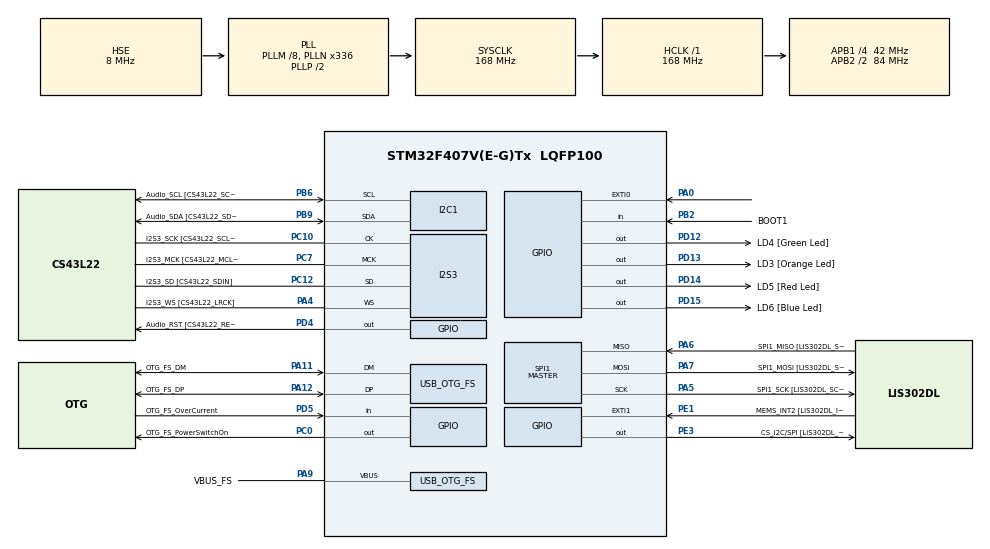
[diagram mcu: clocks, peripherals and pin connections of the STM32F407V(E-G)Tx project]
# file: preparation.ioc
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FREERTOS.BinarySemaphores01=myBinarySem01,Dynamic,NULL
FREERTOS.CountingSemaphores01=myCountingSem01,2,Dynamic,NULL
FREERTOS.Events01=myEvent01,Dynamic,NULL
FREERTOS.Queues01=myQueue01,8,uint8_t,0,Dynamic,NULL,NULL
FREERTOS.Tasks01=Task1,26,256,Sender1,Default,NULL,Dynamic,NULL,NULL;Task2,26,256,Receiver,Default,NULL,Dynamic,NULL,NULL;Task3,26,256,Sender2,Default,NULL,Dynamic,NULL,NULL
FREERTOS.configUSE_NEWLIB_REENTRANT=1
I2S3.AudioFreq-Half_Duplex_Master=I2S_AUDIOFREQ_96K
I2S3.ErrorAudioFreq=-2.34 %
I2S3.ErrorAudioFreq-Half_Duplex_Master=0.8 %
I2S3.FullDuplexMode=I2S_FULLDUPLEXMODE_DISABLE
I2S3.Instance=SPI$Index
I2S3.RealAudioFreq=93.75 KHz
I2S3.RealAudioFreq-Half_Duplex_Master=96.774 KHz
I2S3.VirtualMode=I2S_MODE_MASTER
Mcu.Family=STM32F4
Mcu.Name=STM32F407V(E-G)Tx
Mcu.Package=LQFP100
NVIC.EXTI0_IRQn=true\:5\:0\:false\:false\:true\:true\:true\:true\:true
NVIC.OTG_FS_IRQn=true\:5\:0\:false\:false\:true\:true\:true\:true\:true
NVIC.PriorityGroup=NVIC_PRIORITYGROUP_4
NVIC.TIM6_DAC_IRQn=true\:15\:0\:false\:false\:true\:false\:false\:true\:true
NVIC.TimeBase=TIM6_DAC_IRQn
NVIC.TimeBaseIP=TIM6
PA0-WKUP.Signal=GPXTI0
PA10.GPIO_Label=OTG_FS_ID
PA10.GPIO_Mode=GPIO_MODE_AF_PP
PA10.GPIO_PuPd=GPIO_NOPULL
PA10.GPIO_Speed=GPIO_SPEED_FREQ_LOW
PA10.Signal=USB_OTG_FS_ID
PA11.GPIO_Label=OTG_FS_DM
PA11.GPIO_Mode=GPIO_MODE_AF_PP
PA11.GPIO_PuPd=GPIO_NOPULL
PA11.GPIO_Speed=GPIO_SPEED_FREQ_LOW
PA11.Mode=Device_Only
PA11.Signal=USB_OTG_FS_DM
PA12.GPIO_Label=OTG_FS_DP
PA12.GPIO_Mode=GPIO_MODE_AF_PP
PA12.GPIO_PuPd=GPIO_NOPULL
PA12.GPIO_Speed=GPIO_SPEED_FREQ_LOW
PA12.Mode=Device_Only
PA12.Signal=USB_OTG_FS_DP
PA13.GPIO_Label=SWDIO
PA13.Mode=Serial_Wire
PA13.Signal=SYS_JTMS-SWDIO
PA14.GPIO_Label=SWCLK
PA14.Mode=Serial_Wire
PA14.Signal=SYS_JTCK-SWCLK
PA4.GPIO_Label=I2S3_WS [CS43L22_LRCK]
PA4.GPIO_Mode=GPIO_MODE_AF_PP
PA4.GPIO_PuPd=GPIO_NOPULL
PA4.GPIO_Speed=GPIO_SPEED_FREQ_LOW
PA4.Mode=Half_Duplex_Master
PA4.Signal=I2S3_WS
PA5.GPIO_Label=SPI1_SCK [LIS302DL_SCL/SPC]
PA5.GPIO_Mode=GPIO_MODE_AF_PP
PA5.GPIO_PuPd=GPIO_NOPULL
PA5.GPIO_Speed=GPIO_SPEED_FREQ_LOW
PA5.Mode=Full_Duplex_Master
PA5.Signal=SPI1_SCK
PA6.GPIO_Label=SPI1_MISO [LIS302DL_SDO]
PA6.GPIO_Mode=GPIO_MODE_AF_PP
PA6.GPIO_PuPd=GPIO_NOPULL
PA6.GPIO_Speed=GPIO_SPEED_FREQ_LOW
PA6.Mode=Full_Duplex_Master
PA6.Signal=SPI1_MISO
PA7.GPIO_Label=SPI1_MOSI [LIS302DL_SDA/SDI/SDO]
PA7.GPIO_Mode=GPIO_MODE_AF_PP
PA7.GPIO_PuPd=GPIO_NOPULL
PA7.GPIO_Speed=GPIO_SPEED_FREQ_LOW
PA7.Mode=Full_Duplex_Master
PA7.Signal=SPI1_MOSI
PA9.GPIO_Label=VBUS_FS
PA9.GPIO_Mode=GPIO_MODE_INPUT
PA9.GPIO_PuPd=GPIO_NOPULL
PA9.Mode=Activate_VBUS
PA9.Signal=USB_OTG_FS_VBUS
PB10.GPIO_Label=CLK_IN [MP45DT02_CLK]
PB10.GPIO_Mode=GPIO_MODE_AF_PP
PB10.GPIO_PuPd=GPIO_NOPULL
PB10.GPIO_Speed=GPIO_SPEED_FREQ_LOW
PB10.Signal=I2S2_CK
PB2.GPIO_Label=BOOT1
PB2.GPIO_Mode=GPIO_MODE_INPUT
PB2.GPIO_PuPd=GPIO_NOPULL
PB2.Signal=GPIO_Input
PB3.GPIO_Label=SWO
PB3.Signal=SYS_JTDO-SWO
PB6.GPIO_Label=Audio_SCL [CS43L22_SCL]
PB6.GPIO_Mode=GPIO_MODE_AF_OD
PB6.GPIO_Pu=GPIO_PULLUP
PB6.GPIO_PuPd=GPIO_NOPULL
PB6.GPIO_Speed=GPIO_SPEED_FREQ_LOW
PB6.Mode=I2C
PB6.Signal=I2C1_SCL
PB9.GPIO_Label=Audio_SDA [CS43L22_SDA]
PB9.GPIO_Mode=GPIO_MODE_AF_OD
PB9.GPIO_Pu=GPIO_PULLUP
PB9.GPIO_PuPd=GPIO_NOPULL
PB9.GPIO_Speed=GPIO_SPEED_FREQ_LOW
PB9.Mode=I2C
PB9.Signal=I2C1_SDA
PC0.GPIO_Label=OTG_FS_PowerSwitchOn
PC0.GPIO_PuPd=GPIO_NOPULL
PC0.GPIO_Speed=GPIO_SPEED_FREQ_LOW
PC0.PinState=GPIO_PIN_SET
PC0.Signal=GPIO_Output
PC10.GPIO_Label=I2S3_SCK [CS43L22_SCLK]
PC10.GPIO_Mode=GPIO_MODE_AF_PP
PC10.GPIO_PuPd=GPIO_NOPULL
PC10.GPIO_Speed=GPIO_SPEED_FREQ_LOW
PC10.Mode=Half_Duplex_Master
PC10.Signal=I2S3_CK
PC12.GPIO_Label=I2S3_SD [CS43L22_SDIN]
PC12.GPIO_Mode=GPIO_MODE_AF_PP
PC12.GPIO_PuPd=GPIO_NOPULL
PC12.GPIO_Speed=GPIO_SPEED_FREQ_LOW
PC12.Mode=Half_Duplex_Master
PC12.Signal=I2S3_SD
PC14-OSC32_IN.GPIO_Label=PC14-OSC32_IN
PC14-OSC32_IN.Mode=LSE-External-Oscillator
PC14-OSC32_IN.Signal=RCC_OSC32_IN
PC15-OSC32_OUT.GPIO_Label=PC15-OSC32_OUT
PC15-OSC32_OUT.Mode=LSE-External-Oscillator
PC15-OSC32_OUT.Signal=RCC_OSC32_OUT
PC3.GPIO_Label=PDM_OUT [MP45DT02_DOUT]
PC3.GPIO_Mode=GPIO_MODE_AF_PP
PC3.GPIO_PuPd=GPIO_NOPULL
PC3.GPIO_Speed=GPIO_SPEED_FREQ_LOW
PC3.Signal=I2S2_SD
PC7.GPIO_Label=I2S3_MCK [CS43L22_MCLK]
PC7.GPIO_Mode=GPIO_MODE_AF_PP
PC7.GPIO_PuPd=GPIO_NOPULL
PC7.GPIO_Speed=GPIO_SPEED_FREQ_LOW
PC7.Mode=Master_Clock_Activated
PC7.Signal=I2S3_MCK
PD12.GPIO_Label=LD4 [Green Led]
PD12.GPIO_PuPd=GPIO_NOPULL
PD12.GPIO_Speed=GPIO_SPEED_FREQ_LOW
PD12.Signal=GPIO_Output
PD13.GPIO_Label=LD3 [Orange Led]
PD13.GPIO_PuPd=GPIO_NOPULL
PD13.GPIO_Speed=GPIO_SPEED_FREQ_LOW
PD13.Signal=GPIO_Output
PD14.GPIO_Label=LD5 [Red Led]
PD14.GPIO_PuPd=GPIO_NOPULL
PD14.GPIO_Speed=GPIO_SPEED_FREQ_LOW
PD14.Signal=GPIO_Output
PD15.GPIO_Label=LD6 [Blue Led]
PD15.GPIO_PuPd=GPIO_NOPULL
PD15.GPIO_Speed=GPIO_SPEED_FREQ_LOW
PD15.Signal=GPIO_Output
PD4.GPIO_Label=Audio_RST [CS43L22_RESET]
PD4.GPIO_PuPd=GPIO_NOPULL
PD4.GPIO_Speed=GPIO_SPEED_FREQ_LOW
PD4.Signal=GPIO_Output
PD5.GPIO_Label=OTG_FS_OverCurrent
PD5.GPIO_Mode=GPIO_MODE_INPUT
PD5.GPIO_PuPd=GPIO_NOPULL
PD5.Signal=GPIO_Input
PE1.GPIO_Label=MEMS_INT2 [LIS302DL_INT2]
PE1.GPIO_ModeDefaultEXTI=GPIO_MODE_EVT_RISING
PE1.GPIO_PuPd=GPIO_NOPULL
PE1.Signal=GPXTI1
PE3.GPIO_Label=CS_I2C/SPI [LIS302DL_CS_I2C/SPI]
PE3.GPIO_PuPd=GPIO_NOPULL
PE3.GPIO_Speed=GPIO_SPEED_FREQ_LOW
PE3.Signal=GPIO_Output
PH0-OSC_IN.GPIO_Label=PH0-OSC_IN
PH0-OSC_IN.Mode=HSE-External-Oscillator
PH0-OSC_IN.Signal=RCC_OSC_IN
PH1-OSC_OUT.GPIO_Label=PH1-OSC_OUT
PH1-OSC_OUT.Mode=HSE-External-Oscillator
PH1-OSC_OUT.Signal=RCC_OSC_OUT
ProjectManager.HeapSize=0x200
ProjectManager.StackSize=0x400
ProjectManager.TargetToolchain=STM32CubeIDE
RCC.48MHZClocksFreq_Value=48000000
RCC.AHBFreq_Value=168000000
RCC.APB1CLKDivider=RCC_HCLK_DIV4
RCC.APB1Freq_Value=42000000
RCC.APB1TimFreq_Value=84000000
RCC.APB2CLKDivider=RCC_HCLK_DIV2
RCC.APB2Freq_Value=84000000
RCC.APB2TimFreq_Value=168000000
RCC.CortexFreq_Value=168000000
RCC.HCLKFreq_Value=168000000
RCC.HSE_VALUE=8000000
RCC.HSI_VALUE=16000000
RCC.PLLM=8
RCC.PLLN=336
RCC.PLLQ=7
RCC.SYSCLKFreq_VALUE=168000000
RCC.SYSCLKSource=RCC_SYSCLKSOURCE_PLLCLK
RCC.VCOOutputFreq_Value=336000000
SPI1.BaudRatePrescaler-Full_Duplex_Master=SPI_BAUDRATEPRESCALER_2
SPI1.CalculateBaudRate-Full_Duplex_Master=42.0 MBits/s
SPI1.Direction=SPI_DIRECTION_2LINES
SPI1.Mode=SPI_MODE_MASTER
SPI1.Mode-Full_Duplex_Master=SPI_MODE_MASTER
SPI1.VirtualType=VM_MASTER
USB_DEVICE.CLASS_NAME_FS=CDC
USB_DEVICE.VirtualMode-CDC_FS=Cdc
USB_DEVICE.VirtualModeFS=Cdc_FS
USB_OTG_FS.VirtualMode=Device_Only
VP_FREERTOS_VS_CMSIS_V2.Mode=CMSIS_V2
VP_SYS_VS_tim6.Mode=TIM6
VP_USB_DEVICE_VS_USB_DEVICE_CDC_FS.Mode=CDC_FS
board=STM32F407G-DISC1

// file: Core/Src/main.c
/* USER CODE BEGIN Header */
/**
  ******************************************************************************
  * @file           : main.c
  * @brief          : Main program body
  ******************************************************************************
  * @attention
  *
  * Copyright (c) 2023 STMicroelectronics.
  * All rights reserved.
  *
  * This software is licensed under terms that can be found in the LICENSE file
  * in the root directory of this software component.
  * If no LICENSE file comes with this software, it is provided AS-IS.
  *
  ******************************************************************************
  */
/* USER CODE END Header */
#include "main.h"
#include "cmsis_os.h"
#include "usb_device.h"

/* USER CODE BEGIN Includes */
#include "usbd_cdc_if.h"

#define TEST
//#define LAB1A
//#define LAB1C
//#define LAB1E
//#define LAB1H
//#define LAB2C
//#define LAB2F
//#define LAB2H
//#define LAB3C
//#define LAB3F
//#define LAB4B

uint16_t res2;
uint16_t res1;

#if defined(LAB1E) || defined(LAB1A) || defined(LAB1C) || defined(LAB1H)
	#define LAB1
#endif

#if defined(LAB2C) || defined(LAB2F) || defined(LAB2H)
	#define LAB2
#endif

#if defined(LAB3C) || defined(LAB3F)
	#define LAB3
#endif

#if defined(LAB4B)
	#define LAB4
#endif

#ifdef LAB1A
   #include "lab1a.h"
	void (*Task1) = &StartDefaultTask_lab1a;
	void (*Task2) = &StartTask02_lab1a;
#endif

#ifdef LAB1C
   #include "lab1c.h"

	void (*Task1) = &StartDefaultTask_lab1c;
	void (*Task2) = &StartTask02_lab1c;
#endif

#ifdef LAB1E
   #include "lab1e.h"
	void (*Task1) = &StartDefaultTask_lab1e;
	void (*Task2) = &StartTask02_lab1e;
#endif

#ifdef LAB1H
   #include "lab1h.h"
	void (*Task1) = &StartDefaultTask_lab1h;
	void (*Task2) = &StartTask02_lab1h;
#endif

#ifdef LAB2C
   #include "lab2c.h"
	void (*Task1) = &Sender_lab2c;
	void (*Task2) = &Receiver_lab2c;
#endif

#ifdef LAB2F
   #include "lab2f.h"
	void (*Task1) = &Sender1_lab2f;
	void (*Task2) = &Receiver_lab2f;
	void (*Task3) = &Sender2_lab2f;
#endif

#ifdef LAB2H
   #include "lab2h.h"
	void (*Task1) = &Sender1_lab2h;
	void (*Task2) = &Receiver_lab2h;
	void (*Task3) = &Sender2_lab2h;
#endif

#ifdef LAB3C
   #include "lab3c.h"
	void (*Task1) = &Sender1_lab3c;
	void (*Task2) = &Receiver_lab3c;
#endif

#ifdef LAB3F
   #include "lab3f.h"
	void (*Task1) = &Sender1_lab3f;
	void (*Task2) = &Receiver_lab3f;
	void (*Task3) = &Sender2_lab3f;
#endif

#ifdef LAB4B
   #include "lab4b.h"
	void (*Task1) = &Sender1_lab4b;
	void (*Task2) = &Receiver_lab4b;
	void (*Task3) = &Sender2_lab4b;
#endif

#ifdef TEST
	void Sender1(void *argument);
	void Sender2(void *argument);
	void Receiver(void *argument);
	void (*Task1) = &Sender1;
	void (*Task2) = &Receiver;
	void (*Task3) = &Sender2;
#endif

/* USER CODE END Includes */

/* USER CODE BEGIN PM */
uint8_t x;
/* USER CODE END PM */

I2C_HandleTypeDef hi2c1;

I2S_HandleTypeDef hi2s3;

SPI_HandleTypeDef hspi1;

/* Definitions for Task1 */
osThreadId_t Task1Handle;
const osThreadAttr_t Task1_attributes = {
  .name = "Task1",
  .stack_size = 256 * 4,
  .priority = (osPriority_t) osPriorityHigh7,
};
/* Definitions for Task2 */
osThreadId_t Task2Handle;
const osThreadAttr_t Task2_attributes = {
  .name = "Task2",
  .stack_size = 256 * 4,
  .priority = (osPriority_t) osPriorityBelowNormal,
};
/* Definitions for Task3 */
osThreadId_t Task3Handle;
const osThreadAttr_t Task3_attributes = {
  .name = "Task3",
  .stack_size = 256 * 4,
  .priority = (osPriority_t) osPriorityBelowNormal,
};
/* Definitions for myQueue01 */
osMessageQueueId_t myQueue01Handle;
const osMessageQueueAttr_t myQueue01_attributes = {
  .name = "myQueue01"
};
/* Definitions for myBinarySem01 */
osSemaphoreId_t myBinarySem01Handle;
const osSemaphoreAttr_t myBinarySem01_attributes = {
  .name = "myBinarySem01"
};
/* Definitions for myCountingSem01 */
osSemaphoreId_t myCountingSem01Handle;
const osSemaphoreAttr_t myCountingSem01_attributes = {
  .name = "myCountingSem01"
};
/* Definitions for myEvent01 */
osEventFlagsId_t myEvent01Handle;
const osEventFlagsAttr_t myEvent01_attributes = {
  .name = "myEvent01"
};
/* USER CODE BEGIN PV */
typedef struct  {
    uint8_t source;
    uint16_t value;
} Data;

Data Data2Send1 = {'a',1};
Data Data2Send2 = {'b',2};
/* USER CODE END PV */

void SystemClock_Config(void);
static void MX_GPIO_Init(void);
static void MX_I2C1_Init(void);
static void MX_I2S3_Init(void);
static void MX_SPI1_Init(void);

int main(void)
{

  /* MCU Configuration--------------------------------------------------------*/

  /* Reset of all peripherals, Initializes the Flash interface and the Systick. */
  HAL_Init();

  /* Configure the system clock */
  SystemClock_Config();

  /* Initialize all configured peripherals */
  MX_GPIO_Init();
  MX_I2C1_Init();
  MX_I2S3_Init();
  MX_SPI1_Init();
  /* USER CODE BEGIN 2 */
  MX_USB_DEVICE_Init();
  /* USER CODE END 2 */

  /* Init scheduler */
  osKernelInitialize();

  /* Create the semaphores(s) */
  /* creation of myBinarySem01 */
  myBinarySem01Handle = osSemaphoreNew(1, 1, &myBinarySem01_attributes);

  /* creation of myCountingSem01 */
  myCountingSem01Handle = osSemaphoreNew(2, 2, &myCountingSem01_attributes);

  /* Create the queue(s) */
  /* creation of myQueue01 */
  myQueue01Handle = osMessageQueueNew (8, sizeof(uint8_t), &myQueue01_attributes);

  /* Create the thread(s) */
  /* creation of Task1 */

  /* USER CODE BEGIN RTOS_THREADS */
  /* add threads, ... */

	#ifdef LAB1
  	  	Task2Handle = osThreadNew(Task2, NULL, &Task2_attributes);
  	    Task1Handle = osThreadNew(Task1, NULL, &Task1_attributes);
	#endif

	#ifdef LAB2
		Task1Handle = osThreadNew(Task1, NULL, &Task1_attributes);
		Task2Handle = osThreadNew(Task2, NULL, &Task2_attributes);
	#if defined(LAB2F) || defined(LAB2H)
		Task3Handle = osThreadNew(Task3, NULL, &Task3_attributes);
	#endif
		//Task3Handle = osThreadNew(Task3, NULL, &Task3_attributes);
	#endif

	#ifdef LAB3
			Task2Handle = osThreadNew(Task2, NULL, &Task2_attributes);
			Task1Handle = osThreadNew(Task1, NULL, &Task1_attributes);
	#if defined(LAB3F)
		Task3Handle = osThreadNew(Task3, NULL, &Task3_attributes);
	#endif
	#endif

	#ifdef LAB4
		Task1Handle = osThreadNew(Task1, NULL, &Task1_attributes);
		Task2Handle = osThreadNew(Task2, NULL, &Task2_attributes);
		Task3Handle = osThreadNew(Task3, NULL, &Task3_attributes);

	#endif

	#ifdef TEST
		  Task1Handle = osThreadNew(Sender1, NULL, &Task1_attributes);

		  /* creation of Task2 */
		  Task2Handle = osThreadNew(Receiver, NULL, &Task2_attributes);

		  /* creation of Task3 */
		  Task3Handle = osThreadNew(Sender2, NULL, &Task3_attributes);
	#endif
  /* USER CODE END RTOS_THREADS */

  /* Create the event(s) */
  /* creation of myEvent01 */
  myEvent01Handle = osEventFlagsNew(&myEvent01_attributes);

  /* Start scheduler */
  osKernelStart();
  /* We should never get here as control is now taken by the scheduler */
  /* Infinite loop */
  while (1)
  {

    /* USER CODE BEGIN 3 */
	  //Task_action('1');
	  //HAL_Delay(100);
  }
  /* USER CODE END 3 */
}

void SystemClock_Config(void)
{
  RCC_OscInitTypeDef RCC_OscInitStruct = {0};
  RCC_ClkInitTypeDef RCC_ClkInitStruct = {0};

  /** Configure the main internal regulator output voltage
  */
  __HAL_RCC_PWR_CLK_ENABLE();
  __HAL_PWR_VOLTAGESCALING_CONFIG(PWR_REGULATOR_VOLTAGE_SCALE1);

  /** Initializes the RCC Oscillators according to the specified parameters
  * in the RCC_OscInitTypeDef structure.
  */
  RCC_OscInitStruct.OscillatorType = RCC_OSCILLATORTYPE_HSE;
  RCC_OscInitStruct.HSEState = RCC_HSE_ON;
  RCC_OscInitStruct.PLL.PLLState = RCC_PLL_ON;
  RCC_OscInitStruct.PLL.PLLSource = RCC_PLLSOURCE_HSE;
  RCC_OscInitStruct.PLL.PLLM = 8;
  RCC_OscInitStruct.PLL.PLLN = 336;
  RCC_OscInitStruct.PLL.PLLP = RCC_PLLP_DIV2;
  RCC_OscInitStruct.PLL.PLLQ = 7;
  if (HAL_RCC_OscConfig(&RCC_OscInitStruct) != HAL_OK)
  {
    Error_Handler();
  }

  /** Initializes the CPU, AHB and APB buses clocks
  */
  RCC_ClkInitStruct.ClockType = RCC_CLOCKTYPE_HCLK|RCC_CLOCKTYPE_SYSCLK
                              |RCC_CLOCKTYPE_PCLK1|RCC_CLOCKTYPE_PCLK2;
  RCC_ClkInitStruct.SYSCLKSource = RCC_SYSCLKSOURCE_PLLCLK;
  RCC_ClkInitStruct.AHBCLKDivider = RCC_SYSCLK_DIV1;
  RCC_ClkInitStruct.APB1CLKDivider = RCC_HCLK_DIV4;
  RCC_ClkInitStruct.APB2CLKDivider = RCC_HCLK_DIV2;

  if (HAL_RCC_ClockConfig(&RCC_ClkInitStruct, FLASH_LATENCY_5) != HAL_OK)
  {
    Error_Handler();
  }
}

static void MX_I2C1_Init(void)
{

  hi2c1.Instance = I2C1;
  hi2c1.Init.ClockSpeed = 100000;
  hi2c1.Init.DutyCycle = I2C_DUTYCYCLE_2;
  hi2c1.Init.OwnAddress1 = 0;
  hi2c1.Init.AddressingMode = I2C_ADDRESSINGMODE_7BIT;
  hi2c1.Init.DualAddressMode = I2C_DUALADDRESS_DISABLE;
  hi2c1.Init.OwnAddress2 = 0;
  hi2c1.Init.GeneralCallMode = I2C_GENERALCALL_DISABLE;
  hi2c1.Init.NoStretchMode = I2C_NOSTRETCH_DISABLE;
  if (HAL_I2C_Init(&hi2c1) != HAL_OK)
  {
    Error_Handler();
  }

}

static void MX_I2S3_Init(void)
{

  hi2s3.Instance = SPI3;
  hi2s3.Init.Mode = I2S_MODE_MASTER_TX;
  hi2s3.Init.Standard = I2S_STANDARD_PHILIPS;
  hi2s3.Init.DataFormat = I2S_DATAFORMAT_16B;
  hi2s3.Init.MCLKOutput = I2S_MCLKOUTPUT_ENABLE;
  hi2s3.Init.AudioFreq = I2S_AUDIOFREQ_96K;
  hi2s3.Init.CPOL = I2S_CPOL_LOW;
  hi2s3.Init.ClockSource = I2S_CLOCK_PLL;
  hi2s3.Init.FullDuplexMode = I2S_FULLDUPLEXMODE_DISABLE;
  if (HAL_I2S_Init(&hi2s3) != HAL_OK)
  {
    Error_Handler();
  }

}

static void MX_SPI1_Init(void)
{

  /* SPI1 parameter configuration*/
  hspi1.Instance = SPI1;
  hspi1.Init.Mode = SPI_MODE_MASTER;
  hspi1.Init.Direction = SPI_DIRECTION_2LINES;
  hspi1.Init.DataSize = SPI_DATASIZE_8BIT;
  hspi1.Init.CLKPolarity = SPI_POLARITY_LOW;
  hspi1.Init.CLKPhase = SPI_PHASE_1EDGE;
  hspi1.Init.NSS = SPI_NSS_SOFT;
  hspi1.Init.BaudRatePrescaler = SPI_BAUDRATEPRESCALER_2;
  hspi1.Init.FirstBit = SPI_FIRSTBIT_MSB;
  hspi1.Init.TIMode = SPI_TIMODE_DISABLE;
  hspi1.Init.CRCCalculation = SPI_CRCCALCULATION_DISABLE;
  hspi1.Init.CRCPolynomial = 10;
  if (HAL_SPI_Init(&hspi1) != HAL_OK)
  {
    Error_Handler();
  }

}

static void MX_GPIO_Init(void)
{
  GPIO_InitTypeDef GPIO_InitStruct = {0};

  /* GPIO Ports Clock Enable */
  __HAL_RCC_GPIOE_CLK_ENABLE();
  __HAL_RCC_GPIOC_CLK_ENABLE();
  __HAL_RCC_GPIOH_CLK_ENABLE();
  __HAL_RCC_GPIOA_CLK_ENABLE();
  __HAL_RCC_GPIOB_CLK_ENABLE();
  __HAL_RCC_GPIOD_CLK_ENABLE();

  /*Configure GPIO pin Output Level */
  HAL_GPIO_WritePin(CS_I2C_SPI_GPIO_Port, CS_I2C_SPI_Pin, GPIO_PIN_RESET);

  /*Configure GPIO pin Output Level */
  HAL_GPIO_WritePin(OTG_FS_PowerSwitchOn_GPIO_Port, OTG_FS_PowerSwitchOn_Pin, GPIO_PIN_SET);

  /*Configure GPIO pin Output Level */
  HAL_GPIO_WritePin(GPIOD, LD4_Pin|LD3_Pin|LD5_Pin|LD6_Pin
                          |Audio_RST_Pin, GPIO_PIN_RESET);

  /*Configure GPIO pin : CS_I2C_SPI_Pin */
  GPIO_InitStruct.Pin = CS_I2C_SPI_Pin;
  GPIO_InitStruct.Mode = GPIO_MODE_OUTPUT_PP;
  GPIO_InitStruct.Pull = GPIO_NOPULL;
  GPIO_InitStruct.Speed = GPIO_SPEED_FREQ_LOW;
  HAL_GPIO_Init(CS_I2C_SPI_GPIO_Port, &GPIO_InitStruct);

  /*Configure GPIO pin : OTG_FS_PowerSwitchOn_Pin */
  GPIO_InitStruct.Pin = OTG_FS_PowerSwitchOn_Pin;
  GPIO_InitStruct.Mode = GPIO_MODE_OUTPUT_PP;
  GPIO_InitStruct.Pull = GPIO_NOPULL;
  GPIO_InitStruct.Speed = GPIO_SPEED_FREQ_LOW;
  HAL_GPIO_Init(OTG_FS_PowerSwitchOn_GPIO_Port, &GPIO_InitStruct);

  /*Configure GPIO pin : PDM_OUT_Pin */
  GPIO_InitStruct.Pin = PDM_OUT_Pin;
  GPIO_InitStruct.Mode = GPIO_MODE_AF_PP;
  GPIO_InitStruct.Pull = GPIO_NOPULL;
  GPIO_InitStruct.Speed = GPIO_SPEED_FREQ_LOW;
  GPIO_InitStruct.Alternate = GPIO_AF5_SPI2;
  HAL_GPIO_Init(PDM_OUT_GPIO_Port, &GPIO_InitStruct);

  /*Configure GPIO pin : PA0 */
  GPIO_InitStruct.Pin = GPIO_PIN_0;
  GPIO_InitStruct.Mode = GPIO_MODE_IT_RISING;
  GPIO_InitStruct.Pull = GPIO_NOPULL;
  HAL_GPIO_Init(GPIOA, &GPIO_InitStruct);

  /*Configure GPIO pin : BOOT1_Pin */
  GPIO_InitStruct.Pin = BOOT1_Pin;
  GPIO_InitStruct.Mode = GPIO_MODE_INPUT;
  GPIO_InitStruct.Pull = GPIO_NOPULL;
  HAL_GPIO_Init(BOOT1_GPIO_Port, &GPIO_InitStruct);

  /*Configure GPIO pin : CLK_IN_Pin */
  GPIO_InitStruct.Pin = CLK_IN_Pin;
  GPIO_InitStruct.Mode = GPIO_MODE_AF_PP;
  GPIO_InitStruct.Pull = GPIO_NOPULL;
  GPIO_InitStruct.Speed = GPIO_SPEED_FREQ_LOW;
  GPIO_InitStruct.Alternate = GPIO_AF5_SPI2;
  HAL_GPIO_Init(CLK_IN_GPIO_Port, &GPIO_InitStruct);

  /*Configure GPIO pins : LD4_Pin LD3_Pin LD5_Pin LD6_Pin
                           Audio_RST_Pin */
  GPIO_InitStruct.Pin = LD4_Pin|LD3_Pin|LD5_Pin|LD6_Pin
                          |Audio_RST_Pin;
  GPIO_InitStruct.Mode = GPIO_MODE_OUTPUT_PP;
  GPIO_InitStruct.Pull = GPIO_NOPULL;
  GPIO_InitStruct.Speed = GPIO_SPEED_FREQ_LOW;
  HAL_GPIO_Init(GPIOD, &GPIO_InitStruct);

  /*Configure GPIO pin : OTG_FS_OverCurrent_Pin */
  GPIO_InitStruct.Pin = OTG_FS_OverCurrent_Pin;
  GPIO_InitStruct.Mode = GPIO_MODE_INPUT;
  GPIO_InitStruct.Pull = GPIO_NOPULL;
  HAL_GPIO_Init(OTG_FS_OverCurrent_GPIO_Port, &GPIO_InitStruct);

  /*Configure GPIO pin : MEMS_INT2_Pin */
  GPIO_InitStruct.Pin = MEMS_INT2_Pin;
  GPIO_InitStruct.Mode = GPIO_MODE_EVT_RISING;
  GPIO_InitStruct.Pull = GPIO_NOPULL;
  HAL_GPIO_Init(MEMS_INT2_GPIO_Port, &GPIO_InitStruct);

  /* EXTI interrupt init*/
  HAL_NVIC_SetPriority(EXTI0_IRQn, 5, 0);
  HAL_NVIC_EnableIRQ(EXTI0_IRQn);

}

/* USER CODE BEGIN 4 */

char *txBuffer1 = "Sender1 \r\n";
char *txBuffer2 = "Receiver \r\n";
char *txBuffer3 = "Sender2 \r\n";
char *txBuffer4 = "Sender Int \r\n";
void HAL_GPIO_EXTI_Callback(uint16_t GPIO_Pin)
{
 /* Prevent unused argument(s) compilation warning */
 //UNUSED(GPIO_Pin);
 //char *txBuffer = "Sender Int \r\n";

	//osMessagePut(myQueue01Handle, &x, millisec)
	//osSemaphoreRelease(myCountingSem01Handle);
	osEventFlagsSet(myEvent01Handle,  0x51);
	CDC_Transmit_FS((uint8_t *)txBuffer4, strlen(txBuffer4));
	//osDelay(1000);
 /* NOTE: This function Should not be modified, when the callback is needed,
          the HAL_GPIO_EXTI_Callback could be implemented in the user file
  */
}

/* USER CODE END 4 */

uint32_t messageSender1;
uint32_t messageSender2;
uint32_t messageReceiver;
void Sender1(void *argument)
{
  /* init code for USB_DEVICE */
  //MX_USB_DEVICE_Init();
  /* USER CODE BEGIN 5 */

  /* Infinite loop */
  for(;;)
  {

	  messageSender1 = osEventFlagsWait(myEvent01Handle, 0x51, osFlagsWaitAll, osWaitForever);
	  CDC_Transmit_FS((uint8_t *)txBuffer1, strlen(txBuffer1));
	  //CDC_Transmit_FS(Buf, Len)
	  osDelay(1000);
	//osMessagePut(myQueue01Handle, &x, millisec)
	//osSemaphoreRelease(myCountingSem01Handle);

  }
  //osDelay(500);
  /* USER CODE END 5 */
}

void Receiver(void *argument)
{
  /* USER CODE BEGIN Receiver */
	//MX_USB_DEVICE_Init();

	//char *txBuffer = "Receiver \r\n";
  /* Infinite loop */
  for(;;)
  {
	  //osDelay(2000);
	  messageReceiver = osEventFlagsSet(myEvent01Handle,  0x42);

	  CDC_Transmit_FS((uint8_t *)txBuffer2, strlen(txBuffer2));

	  osDelay(3000);
	  //osSemaphoreAcquire(myCountingSem01Handle, 1000);
	  //osSemaphoreAcquire(myCountingSem01Handle, 1000);

  }
  /* USER CODE END Receiver */
}

void Sender2(void *argument)
{
  /* USER CODE BEGIN Sender2 */
	  //char *txBuffer = "Sender2 \r\n";

	  /* Infinite loop */
	  for(;;)
	  {

		  messageSender2 = osEventFlagsWait(myEvent01Handle, 0x53, osFlagsWaitAll, osWaitForever);
		  CDC_Transmit_FS((uint8_t *)txBuffer3, strlen(txBuffer3));
		  osDelay(1000);
		//osMessagePut(myQueue01Handle, &x, millisec)
		//osSemaphoreRelease(myCountingSem01Handle);

	  }
	  //osDelay(500);

  /* USER CODE END Sender2 */
}

void HAL_TIM_PeriodElapsedCallback(TIM_HandleTypeDef *htim)
{
  if (htim->Instance == TIM6) {
    HAL_IncTick();
  }
}

void Error_Handler(void)
{
  __disable_irq();
  while (1)
  {
  }
}
